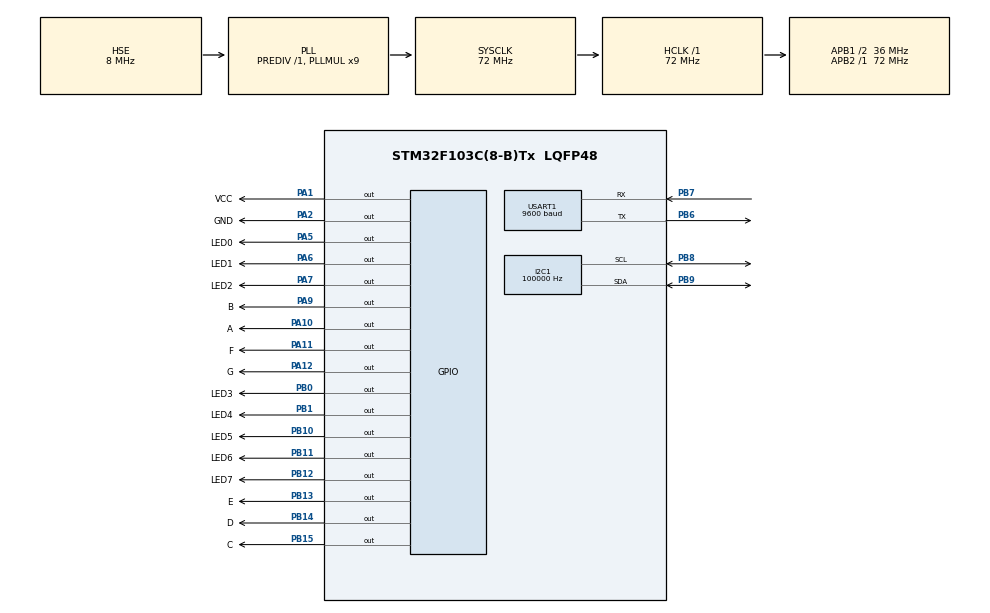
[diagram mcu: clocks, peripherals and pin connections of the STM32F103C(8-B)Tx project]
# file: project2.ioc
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I2C1.ClockSpeed=100000
I2C1.I2C_Mode=I2C_Standard
Mcu.Family=STM32F1
Mcu.Name=STM32F103C(8-B)Tx
Mcu.Package=LQFP48
NVIC.PriorityGroup=NVIC_PRIORITYGROUP_4
NVIC.USART1_IRQn=true\:0\:0\:false\:false\:true\:true\:true\:true
PA1.GPIO_Label=VCC
PA1.PinState=GPIO_PIN_SET
PA1.Signal=GPIO_Output
PA10.GPIO_Label=A
PA10.Signal=GPIO_Output
PA11.GPIO_Label=F
PA11.Signal=GPIO_Output
PA12.GPIO_Label=G
PA12.Signal=GPIO_Output
PA13.Mode=Serial_Wire
PA13.Signal=SYS_JTMS-SWDIO
PA14.Mode=Serial_Wire
PA14.Signal=SYS_JTCK-SWCLK
PA2.GPIO_Label=GND
PA2.Signal=GPIO_Output
PA5.GPIO_Label=LED0
PA5.PinState=GPIO_PIN_SET
PA5.Signal=GPIO_Output
PA6.GPIO_Label=LED1
PA6.GPIO_ModeDefaultOutputPP=GPIO_MODE_OUTPUT_PP
PA6.GPIO_PuPd=GPIO_NOPULL
PA6.PinState=GPIO_PIN_SET
PA6.Signal=GPIO_Output
PA7.GPIO_Label=LED2
PA7.PinState=GPIO_PIN_SET
PA7.Signal=GPIO_Output
PA9.GPIO_Label=B
PA9.Signal=GPIO_Output
PB0.GPIO_Label=LED3
PB0.PinState=GPIO_PIN_SET
PB0.Signal=GPIO_Output
PB1.GPIO_Label=LED4
PB1.PinState=GPIO_PIN_SET
PB1.Signal=GPIO_Output
PB10.GPIO_Label=LED5
PB10.PinState=GPIO_PIN_SET
PB10.Signal=GPIO_Output
PB11.GPIO_Label=LED6
PB11.PinState=GPIO_PIN_SET
PB11.Signal=GPIO_Output
PB12.GPIO_Label=LED7
PB12.PinState=GPIO_PIN_SET
PB12.Signal=GPIO_Output
PB13.GPIO_Label=E
PB13.Signal=GPIO_Output
PB14.GPIO_Label=D
PB14.Signal=GPIO_Output
PB15.GPIO_Label=C
PB15.Signal=GPIO_Output
PB6.Mode=Asynchronous
PB6.Signal=USART1_TX
PB7.Mode=Asynchronous
PB7.Signal=USART1_RX
PB8.Mode=I2C
PB8.Signal=I2C1_SCL
PB9.Mode=I2C
PB9.Signal=I2C1_SDA
PD0-OSC_IN.Mode=HSE-External-Oscillator
PD0-OSC_IN.Signal=RCC_OSC_IN
PD1-OSC_OUT.Mode=HSE-External-Oscillator
PD1-OSC_OUT.Signal=RCC_OSC_OUT
ProjectManager.HeapSize=0x200
ProjectManager.StackSize=0x400
ProjectManager.TargetToolchain=STM32CubeIDE
RCC.AHBFreq_Value=72000000
RCC.APB1CLKDivider=RCC_HCLK_DIV2
RCC.APB1Freq_Value=36000000
RCC.APB1TimFreq_Value=72000000
RCC.APB2Freq_Value=72000000
RCC.APB2TimFreq_Value=72000000
RCC.HCLKFreq_Value=72000000
RCC.PLLMUL=RCC_PLL_MUL9
RCC.PLLSourceVirtual=RCC_PLLSOURCE_HSE
RCC.SYSCLKFreq_VALUE=72000000
RCC.SYSCLKSource=RCC_SYSCLKSOURCE_PLLCLK
RCC.USBFreq_Value=72000000
USART1.BaudRate=9600
USART1.VirtualMode=VM_ASYNC
board=custom

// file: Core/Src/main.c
/* USER CODE BEGIN Header */
/**
  ******************************************************************************
  * @file           : main.c
  * @brief          : Main program body
  ******************************************************************************
  * @attention
  *
  * Copyright (c) 2024 STMicroelectronics.
  * All rights reserved.
  *
  * This software is licensed under terms that can be found in the LICENSE file
  * in the root directory of this software component.
  * If no LICENSE file comes with this software, it is provided AS-IS.
  *
  ******************************************************************************
  */
/* USER CODE END Header */
#include "main.h"

/* USER CODE BEGIN Includes */
#include "i2c-lcd.h"
#include "stdio.h"
#include "led7seg.h"
#include "ds1307.h"
#include <stdarg.h>
/* USER CODE END Includes */

/* USER CODE BEGIN PTD */

#define RECV_END_TIMEOUT 30 //ms
#define UART_PERIOD 1

uint32_t g_tick=0;
volatile uint8_t SCI1_rxdone=0;
uint16_t g_rx1_cnt;
char g_rx1_char;
uint8_t cntTimeRev1;
char g_rx1_buffer[MAX_BUFFER_UART1];

/* USER CODE END PTD */

I2C_HandleTypeDef hi2c1;

UART_HandleTypeDef huart1;

/* USER CODE BEGIN PV */

void HAL_UART_RxCpltCallback(UART_HandleTypeDef *huart)
{
	SCI1_rxdone=1;
	HAL_UART_Receive_IT(&huart1,(uint8_t*)&g_rx1_char,sizeof(g_rx1_char));
		if(g_rx1_cnt < MAX_BUFFER_UART1)
		{
			g_rx1_buffer[g_rx1_cnt++] = g_rx1_char;
		}
		else{
			g_rx1_cnt = 0;
			memset(g_rx1_buffer,0,sizeof(g_rx1_buffer));
		}
		cntTimeRev1 = RECV_END_TIMEOUT;
}
/* USER CODE END PV */

void SystemClock_Config(void);
static void MX_GPIO_Init(void);
static void MX_I2C1_Init(void);
static void MX_USART1_UART_Init(void);
/* USER CODE BEGIN PFP */
DS1307_STRUCT time={
		.date=14,
		.dow= 0,
		.hour= 23,
		.min=47,
		.month = 12,
		.sec=0,
		.year=2024
};
const char arr_day[][4]=
{

	{"SUN"},
	{"MON"},
	{"TUE"},
	{"WED"},
	{"THU"},
	{"FRI"},
	{"SAT"},
};
uint8_t buffer[20];
int vspfunc(char *format, ...)
{

   va_list aptr;
   int ret;
   va_start(aptr, format);
   ret = vsprintf((char*)buffer, format, aptr);
   va_end(aptr);
   return(ret);
}
void display_lcd()
{
		  vspfunc("    %02d:%02d:%02d    ", time.hour , time.min, time.sec);
		  lcd_put_cur( 0,0);
		  lcd_send_string ((char*)buffer);
		  memset(buffer,0,20);
		  lcd_put_cur( 1, 0);
		  uint8_t day_of_week = dayOfWeek(time.date,time.month,time.year);
		  vspfunc(" %s %02d/%02d/%04d ", arr_day[ day_of_week],time.date , time.month, time.year);
		  lcd_send_string ((char*)buffer);
		  memset(buffer,0,20);
}
void time_update()
{
	  static uint32_t time_update=0;
      if (HAL_GetTick()-time_update >=1000)
	  {
    	  time_update = HAL_GetTick();
		  DS1307_gettime(&time);
		  display_lcd();
	  }
}
void led7seg()
{
	  static uint32_t count=0;
	  static uint8_t num=0;
      if (HAL_GetTick()-count >=1000)
	  {
    	  count = HAL_GetTick();
		  display_digit(num);
		  num++;
		  if(num>9)
			  {
			  	  num=0;
			  }

	  }
}
/* USER CODE END PFP */

int main(void)
{

  /* MCU Configuration--------------------------------------------------------*/

  /* Reset of all peripherals, Initializes the Flash interface and the Systick. */
  HAL_Init();

  /* Configure the system clock */
  SystemClock_Config();

  /* Initialize all configured peripherals */
  MX_GPIO_Init();
  MX_I2C1_Init();
  MX_USART1_UART_Init();
  /* USER CODE BEGIN 2 */
  HAL_UART_Receive_IT(&huart1,(uint8_t*)&g_rx1_char,1);
  HAL_Delay(1000);
  lcd_init ();
//   lcd_put_cur(0, 0);
//   lcd_send_string ("HELLO");
//
//   DS1307_config();
//   DS1307_settime(&time);
//   display_digit(1);
//   lcd_backlight_off();
//   HAL_Delay(10000);
//   lcd_backlight_on();
//   lcd_put_cur(1, 0);
//   lcd_send_string("from");
  /* USER CODE END 2 */

  /* Infinite loop */
  while (1)
  {

    /* USER CODE BEGIN 3 */
	  led7seg();
	  time_update();
	  if(HAL_GetTick()-g_tick>UART_PERIOD)
	  	  		{
	  	  			Uart_Cmd_Handler();
	  	  			g_tick = HAL_GetTick();
	  	  		}
  }
  /* USER CODE END 3 */
}

void SystemClock_Config(void)
{
  RCC_OscInitTypeDef RCC_OscInitStruct = {0};
  RCC_ClkInitTypeDef RCC_ClkInitStruct = {0};

  /** Initializes the RCC Oscillators according to the specified parameters
  * in the RCC_OscInitTypeDef structure.
  */
  RCC_OscInitStruct.OscillatorType = RCC_OSCILLATORTYPE_HSE;
  RCC_OscInitStruct.HSEState = RCC_HSE_ON;
  RCC_OscInitStruct.HSEPredivValue = RCC_HSE_PREDIV_DIV1;
  RCC_OscInitStruct.HSIState = RCC_HSI_ON;
  RCC_OscInitStruct.PLL.PLLState = RCC_PLL_ON;
  RCC_OscInitStruct.PLL.PLLSource = RCC_PLLSOURCE_HSE;
  RCC_OscInitStruct.PLL.PLLMUL = RCC_PLL_MUL9;
  if (HAL_RCC_OscConfig(&RCC_OscInitStruct) != HAL_OK)
  {
    Error_Handler();
  }

  /** Initializes the CPU, AHB and APB buses clocks
  */
  RCC_ClkInitStruct.ClockType = RCC_CLOCKTYPE_HCLK|RCC_CLOCKTYPE_SYSCLK
                              |RCC_CLOCKTYPE_PCLK1|RCC_CLOCKTYPE_PCLK2;
  RCC_ClkInitStruct.SYSCLKSource = RCC_SYSCLKSOURCE_PLLCLK;
  RCC_ClkInitStruct.AHBCLKDivider = RCC_SYSCLK_DIV1;
  RCC_ClkInitStruct.APB1CLKDivider = RCC_HCLK_DIV2;
  RCC_ClkInitStruct.APB2CLKDivider = RCC_HCLK_DIV1;

  if (HAL_RCC_ClockConfig(&RCC_ClkInitStruct, FLASH_LATENCY_2) != HAL_OK)
  {
    Error_Handler();
  }
}

static void MX_I2C1_Init(void)
{

  hi2c1.Instance = I2C1;
  hi2c1.Init.ClockSpeed = 100000;
  hi2c1.Init.DutyCycle = I2C_DUTYCYCLE_2;
  hi2c1.Init.OwnAddress1 = 0;
  hi2c1.Init.AddressingMode = I2C_ADDRESSINGMODE_7BIT;
  hi2c1.Init.DualAddressMode = I2C_DUALADDRESS_DISABLE;
  hi2c1.Init.OwnAddress2 = 0;
  hi2c1.Init.GeneralCallMode = I2C_GENERALCALL_DISABLE;
  hi2c1.Init.NoStretchMode = I2C_NOSTRETCH_DISABLE;
  if (HAL_I2C_Init(&hi2c1) != HAL_OK)
  {
    Error_Handler();
  }

}

static void MX_USART1_UART_Init(void)
{

  huart1.Instance = USART1;
  huart1.Init.BaudRate = 9600;
  huart1.Init.WordLength = UART_WORDLENGTH_8B;
  huart1.Init.StopBits = UART_STOPBITS_1;
  huart1.Init.Parity = UART_PARITY_NONE;
  huart1.Init.Mode = UART_MODE_TX_RX;
  huart1.Init.HwFlowCtl = UART_HWCONTROL_NONE;
  huart1.Init.OverSampling = UART_OVERSAMPLING_16;
  if (HAL_UART_Init(&huart1) != HAL_OK)
  {
    Error_Handler();
  }

}

static void MX_GPIO_Init(void)
{
  GPIO_InitTypeDef GPIO_InitStruct = {0};

  /* GPIO Ports Clock Enable */
  __HAL_RCC_GPIOD_CLK_ENABLE();
  __HAL_RCC_GPIOA_CLK_ENABLE();
  __HAL_RCC_GPIOB_CLK_ENABLE();

  /*Configure GPIO pin Output Level */
  HAL_GPIO_WritePin(GPIOA, VCC_Pin|LED0_Pin|LED1_Pin|LED2_Pin, GPIO_PIN_SET);

  /*Configure GPIO pin Output Level */
  HAL_GPIO_WritePin(GPIOA, GND_Pin|B_Pin|A_Pin|F_Pin
                          |G_Pin, GPIO_PIN_RESET);

  /*Configure GPIO pin Output Level */
  HAL_GPIO_WritePin(GPIOB, LED3_Pin|LED4_Pin|LED5_Pin|LED6_Pin
                          |LED7_Pin, GPIO_PIN_SET);

  /*Configure GPIO pin Output Level */
  HAL_GPIO_WritePin(GPIOB, E_Pin|D_Pin|C_Pin, GPIO_PIN_RESET);

  /*Configure GPIO pins : VCC_Pin GND_Pin LED0_Pin LED1_Pin
                           LED2_Pin B_Pin A_Pin F_Pin
                           G_Pin */
  GPIO_InitStruct.Pin = VCC_Pin|GND_Pin|LED0_Pin|LED1_Pin
                          |LED2_Pin|B_Pin|A_Pin|F_Pin
                          |G_Pin;
  GPIO_InitStruct.Mode = GPIO_MODE_OUTPUT_PP;
  GPIO_InitStruct.Pull = GPIO_NOPULL;
  GPIO_InitStruct.Speed = GPIO_SPEED_FREQ_LOW;
  HAL_GPIO_Init(GPIOA, &GPIO_InitStruct);

  /*Configure GPIO pins : LED3_Pin LED4_Pin LED5_Pin LED6_Pin
                           LED7_Pin E_Pin D_Pin C_Pin */
  GPIO_InitStruct.Pin = LED3_Pin|LED4_Pin|LED5_Pin|LED6_Pin
                          |LED7_Pin|E_Pin|D_Pin|C_Pin;
  GPIO_InitStruct.Mode = GPIO_MODE_OUTPUT_PP;
  GPIO_InitStruct.Pull = GPIO_NOPULL;
  GPIO_InitStruct.Speed = GPIO_SPEED_FREQ_LOW;
  HAL_GPIO_Init(GPIOB, &GPIO_InitStruct);

}

void Error_Handler(void)
{
  __disable_irq();
  while (1)
  {
  }
}
